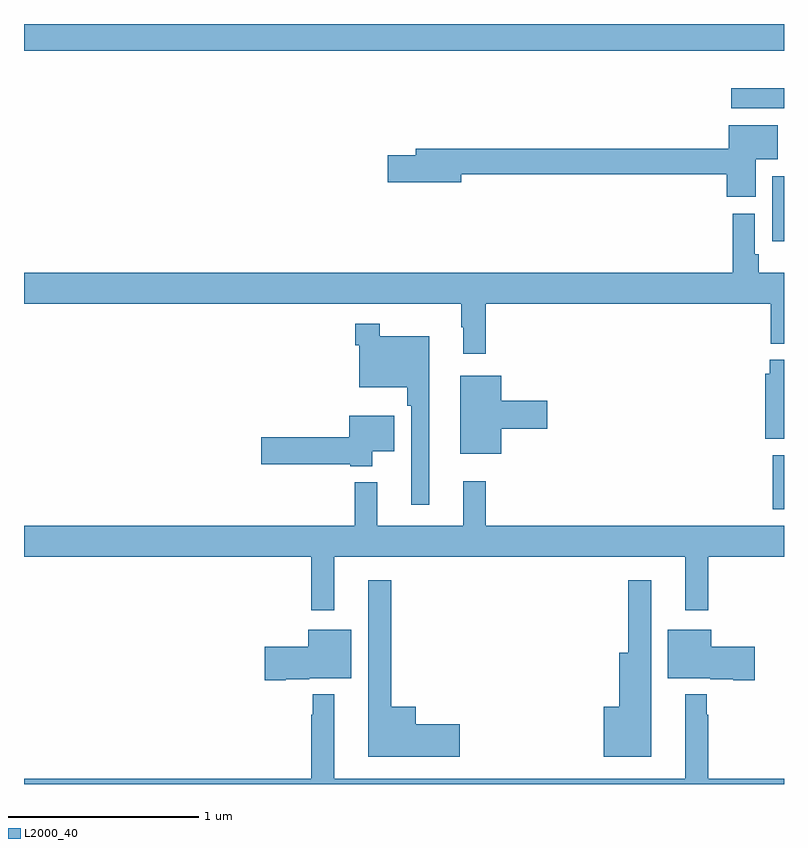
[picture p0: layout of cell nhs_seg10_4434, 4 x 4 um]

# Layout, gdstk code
import gdstk
lib = gdstk.Library(unit=1e-6, precision=1e-09)
def R(c, l, rs):  # rectangles x0, y0, x1, y1
    for r in rs: c.add(gdstk.rectangle(r[:2], r[2:], *l))
def P(c, l, *ps):  # polygons
    for p in ps: c.add(gdstk.Polygon(p, *l))
L2000_40 = (2000, 40)

nhs_seg10_4434 = lib.new_cell('nhs_seg10_4434')
R(nhs_seg10_4434, L2000_40, [(366.941,1253.946,367,1254.231), (366.938,1255.356,367,1255.698), (366.723,1256.057,367,1256.161), (363,1256.36,367,1256.5)])
P(nhs_seg10_4434, L2000_40, [(366.85,1255.787),(366.967,1255.787),(366.967,1255.966),(366.71,1255.966),(366.71,1255.844),(365.063,1255.844),(365.063,1255.808),(364.914,1255.808),(364.914,1255.666),(365.302,1255.666),(365.302,1255.708),(366.698,1255.708),(366.698,1255.59),(366.85,1255.59)],
  [(365.429,1255.028),(366.929,1255.028),(366.929,1254.817),(367,1254.817),(367,1255.192),(366.866,1255.192),(366.866,1255.288),(366.846,1255.288),(366.846,1255.501),(366.73,1255.501),(366.73,1255.192),(363,1255.192),(363,1255.028),(365.301,1255.028),(365.301,1254.905),(365.312,1254.905),(365.312,1254.765),(365.429,1254.765)],
  [(365.134,1254.856),(364.873,1254.856),(364.873,1254.922),(364.744,1254.922),(364.744,1254.809),(364.764,1254.809),(364.764,1254.587),(365.017,1254.587),(365.017,1254.491),(365.037,1254.491),(365.037,1253.97),(365.134,1253.97)],
  [(367,1254.732),(366.926,1254.732),(366.926,1254.66),(366.902,1254.66),(366.902,1254.316),(367,1254.316)],
  [(365.512,1254.371),(365.755,1254.371),(365.755,1254.518),(365.512,1254.518),(365.512,1254.649),(365.297,1254.649),(365.297,1254.239),(365.512,1254.239)],
  [(364.834,1254.251),(364.948,1254.251),(364.948,1254.439),(364.712,1254.439),(364.712,1254.326),(364.248,1254.326),(364.248,1254.184),(364.716,1254.184),(364.716,1254.173),(364.834,1254.173)],
  [(364.633,1253.696),(366.479,1253.696),(366.479,1253.415),(366.601,1253.415),(366.601,1253.696),(367,1253.696),(367,1253.86),(365.429,1253.86),(365.429,1254.094),(365.312,1254.094),(365.312,1253.86),(364.859,1253.86),(364.859,1254.088),(364.741,1254.088),(364.741,1253.86),(363,1253.86),(363,1253.696),(364.512,1253.696),(364.512,1253.415),(364.633,1253.415)],
  [(365.293,1252.814),(365.062,1252.814),(365.062,1252.906),(364.933,1252.906),(364.933,1253.572),(364.811,1253.572),(364.811,1252.643),(365.293,1252.643)],
  [(366.301,1253.572),(366.18,1253.572),(366.18,1253.191),(366.134,1253.191),(366.134,1252.906),(366.05,1252.906),(366.05,1252.643),(366.301,1252.643)],
  [(366.847,1253.223),(366.616,1253.223),(366.616,1253.311),(366.389,1253.311),(366.389,1253.057),(366.612,1253.057),(366.612,1253.051),(366.734,1253.051),(366.734,1253.045),(366.847,1253.045)],
  [(364.378,1253.051),(364.5,1253.051),(364.5,1253.057),(364.723,1253.057),(364.723,1253.311),(364.496,1253.311),(364.496,1253.223),(364.266,1253.223),(364.266,1253.045),(364.378,1253.045)],
  [(367,1252.528),(366.601,1252.528),(366.601,1252.865),(366.593,1252.865),(366.593,1252.972),(366.479,1252.972),(366.479,1252.528),(364.633,1252.528),(364.633,1252.972),(364.519,1252.972),(364.519,1252.865),(364.512,1252.865),(364.512,1252.528),(363,1252.528),(363,1252.5),(367,1252.5)])

lib.write_gds('nhs_seg10_4434.gds')
